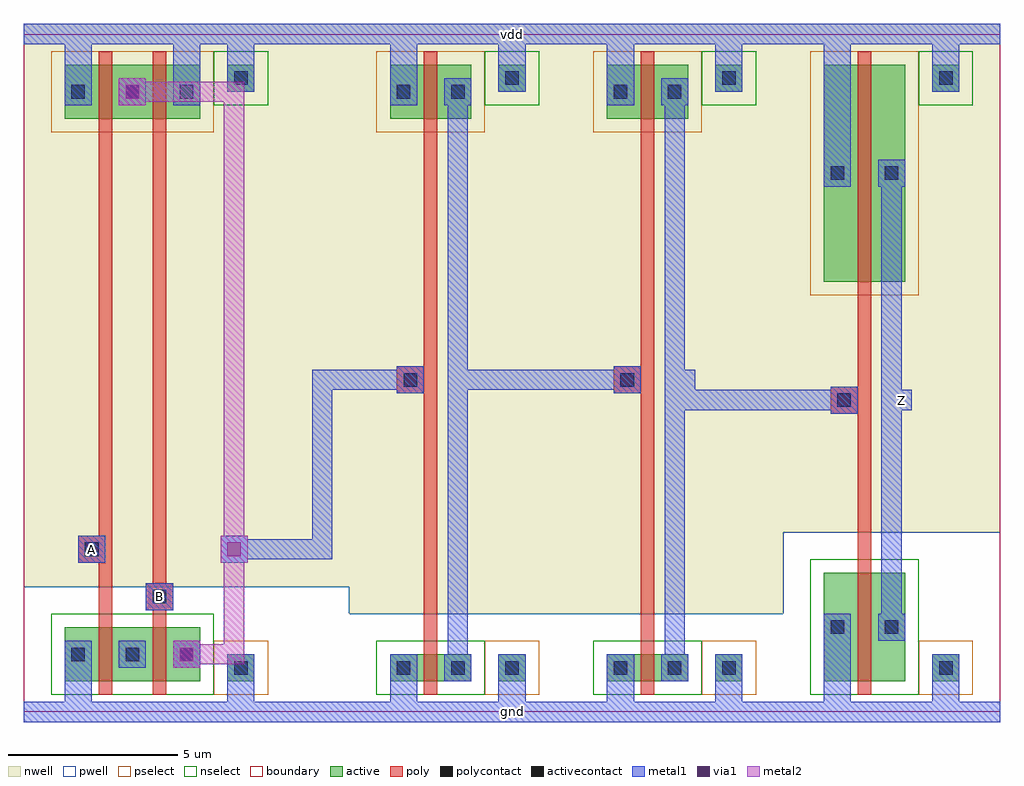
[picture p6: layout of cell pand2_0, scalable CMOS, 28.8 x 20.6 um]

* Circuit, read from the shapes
.subckt pand2_0 A B Z gnd vdd
M1 pnand2_1_0/nmos_m1_w1_600_a_p_2/D A gnd gnd nfet w=1.6u l=0.4u
M2 pdriver_1_1/A B pnand2_1_0/nmos_m1_w1_600_a_p_2/D gnd nfet w=1.6u l=0.4u
M3 pdriver_1_1/pinv_5_1/A pdriver_1_1/A gnd gnd nfet w=0.8u l=0.4u
M4 pdriver_1_1/pinv_4_2/A pdriver_1_1/pinv_5_1/A gnd gnd nfet w=0.8u l=0.4u
M5 Z pdriver_1_1/pinv_4_2/A gnd gnd nfet w=3.2u l=0.4u
M6 pdriver_1_1/A A vdd vdd pfet w=1.6u l=0.4u
M7 vdd B pdriver_1_1/A vdd pfet w=1.6u l=0.4u
M8 pdriver_1_1/pinv_5_1/A pdriver_1_1/A vdd vdd pfet w=1.6u l=0.4u
M9 pdriver_1_1/pinv_4_2/A pdriver_1_1/pinv_5_1/A vdd vdd pfet w=1.6u l=0.4u
M10 Z pdriver_1_1/pinv_4_2/A vdd vdd pfet w=6.4u l=0.4u
.ends

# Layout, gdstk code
import gdstk
lib = gdstk.Library(unit=1e-6, precision=1e-09)
def R(c, l, rs):  # rectangles x0, y0, x1, y1
    for r in rs: c.add(gdstk.rectangle(r[:2], r[2:], *l))
pwell = (41, 0)
nwell = (42, 0)
active = (43, 0)
pselect = (44, 0)
nselect = (45, 0)
poly = (46, 0)
polycontact = (47, 0)
activecontact = (48, 0)
metal1 = (49, 0)
via1 = (50, 0)
metal2 = (51, 0)
boundary = (63, 0)

contact_9 = lib.new_cell('contact_9')
R(contact_9, nwell, [(-1.2,-1.2,2,2)])
R(contact_9, active, [(0,0,0.8,0.8)])
R(contact_9, pselect, [(-0.4,-0.4,1.2,1.2)])
R(contact_9, activecontact, [(0.2,0.2,0.6,0.6)])
R(contact_9, metal1, [(0,0,0.8,0.8)])

pmos_m1_w1_600_a_p = lib.new_cell('pmos_m1_w1_600_a_p')
R(pmos_m1_w1_600_a_p, nwell, [(-1.2,-1.2,3.6,2.8)])
R(pmos_m1_w1_600_a_p, active, [(0,0,2.4,1.6)])
R(pmos_m1_w1_600_a_p, pselect, [(-0.4,-0.4,2.8,2)])
R(pmos_m1_w1_600_a_p, poly, [(1,-0.4,1.4,2), (1,-0.4,1.4,2)])
R(pmos_m1_w1_600_a_p, metal1, [(0,0.4,0.8,1.2), (1.6,0.4,2.4,1.2)])
pmos_m1_w1_600_a_p.add(gdstk.Reference(contact_9, (0,0.4)))
pmos_m1_w1_600_a_p.add(gdstk.Reference(contact_9, (1.6,0.4)))
pmos_m1_w1_600_a_p.add(gdstk.Label('G', (1.2,0.8), layer=46, texttype=0))
pmos_m1_w1_600_a_p.add(gdstk.Label('S', (0.4,0.8), layer=49, texttype=0))
pmos_m1_w1_600_a_p.add(gdstk.Label('D', (2,0.8), layer=49, texttype=0))

contact_14 = lib.new_cell('contact_14')
R(contact_14, pwell, [(-1.2,-1.2,2,2)])
R(contact_14, active, [(0,0,0.8,0.8)])
R(contact_14, nselect, [(-0.4,-0.4,1.2,1.2)])
R(contact_14, activecontact, [(0.2,0.2,0.6,0.6)])
R(contact_14, metal1, [(0,0,0.8,0.8)])

nmos_m1_w1_600_a_p = lib.new_cell('nmos_m1_w1_600_a_p')
R(nmos_m1_w1_600_a_p, pwell, [(-1.2,-1.2,3.6,2.8)])
R(nmos_m1_w1_600_a_p, active, [(0,0,2.4,1.6)])
R(nmos_m1_w1_600_a_p, nselect, [(-0.4,-0.4,2.8,2)])
R(nmos_m1_w1_600_a_p, poly, [(1,-0.4,1.4,2), (1,-0.4,1.4,2)])
R(nmos_m1_w1_600_a_p, metal1, [(0,0.4,0.8,1.2), (1.6,0.4,2.4,1.2)])
nmos_m1_w1_600_a_p.add(gdstk.Reference(contact_14, (0,0.4)))
nmos_m1_w1_600_a_p.add(gdstk.Reference(contact_14, (1.6,0.4)))
nmos_m1_w1_600_a_p.add(gdstk.Label('G', (1.2,0.8), layer=46, texttype=0))
nmos_m1_w1_600_a_p.add(gdstk.Label('S', (0.4,0.8), layer=49, texttype=0))
nmos_m1_w1_600_a_p.add(gdstk.Label('D', (2,0.8), layer=49, texttype=0))

contact_15 = lib.new_cell('contact_15')
R(contact_15, nwell, [(-1.2,-1.2,2,2)])
R(contact_15, active, [(0,0,0.8,0.8)])
R(contact_15, nselect, [(-0.4,-0.4,1.2,1.2)])
R(contact_15, activecontact, [(0.2,0.2,0.6,0.6)])
R(contact_15, metal1, [(0,0,0.8,0.8)])

contact_16 = lib.new_cell('contact_16')
R(contact_16, pwell, [(-1.2,-1.2,2,2)])
R(contact_16, active, [(0,0,0.8,0.8)])
R(contact_16, pselect, [(-0.4,-0.4,1.2,1.2)])
R(contact_16, activecontact, [(0.2,0.2,0.6,0.6)])
R(contact_16, metal1, [(0,0,0.8,0.8)])

contact_10 = lib.new_cell('contact_10')
R(contact_10, poly, [(0,0,0.8,0.8)])
R(contact_10, polycontact, [(0.2,0.2,0.6,0.6)])
R(contact_10, metal1, [(0,0,0.8,0.8)])

contact_17 = lib.new_cell('contact_17')
R(contact_17, metal1, [(0,0,0.8,0.8)])
R(contact_17, via1, [(0.2,0.2,0.6,0.6)])
R(contact_17, metal2, [(0,0,0.8,0.8)])

contact_18 = lib.new_cell('contact_18')
R(contact_18, metal1, [(0,0,0.8,0.8)])
R(contact_18, via1, [(0.2,0.2,0.6,0.6)])
R(contact_18, metal2, [(0,0,0.8,0.8)])

pnand2_1 = lib.new_cell('pnand2_1')
R(pnand2_1, pwell, [(0,-0.3,9.6,3.7)])
R(pnand2_1, nwell, [(0,3.7,9.6,20.3)])
R(pnand2_1, poly, [(2.2,0.5,2.6,17.1), (3.8,0.5,4.2,17.1), (3.8,3,4,3.8), (2,4.4,2.2,5.2)])
R(pnand2_1, metal1, [(0,-0.3,9.6,0.3), (1.2,-0.3,2,1.3), (6,0,6.8,1.3), (3.6,3,4.4,3.8), (1.6,4.4,2.4,5.2), (5.8,4.4,6.6,5.2), (1.2,17.9,2,20.3), (4.4,17.9,5.2,20.3), (6,18.7,6.8,20), (0,19.7,9.6,20.3)])
R(pnand2_1, metal2, [(4.8,1.4,6.2,2), (5.9,1.4,6.5,2), (5.9,1.7,6.5,4.8), (5.9,4.8,6.5,18.3), (3.2,18,6.2,18.6), (5.9,18,6.5,18.6)])
R(pnand2_1, boundary, [(0,0,9.6,20)])
pnand2_1.add(gdstk.Reference(pmos_m1_w1_600_a_p, (1.2,17.5)))
pnand2_1.add(gdstk.Reference(pmos_m1_w1_600_a_p, (2.8,17.5)))
pnand2_1.add(gdstk.Reference(nmos_m1_w1_600_a_p, (1.2,0.9)))
pnand2_1.add(gdstk.Reference(nmos_m1_w1_600_a_p, (2.8,0.9)))
pnand2_1.add(gdstk.Reference(contact_15, (6,18.3)))
pnand2_1.add(gdstk.Reference(contact_16, (6,0.9)))
pnand2_1.add(gdstk.Reference(contact_10, (3.6,3)))
pnand2_1.add(gdstk.Reference(contact_10, (1.6,4.4)))
pnand2_1.add(gdstk.Reference(contact_17, (2.8,17.9)))
pnand2_1.add(gdstk.Reference(contact_17, (4.4,1.3)))
pnand2_1.add(gdstk.Reference(contact_18, (5.8,4.4)))
pnand2_1.add(gdstk.Label('gnd', (4.8,0), layer=49, texttype=0))
pnand2_1.add(gdstk.Label('vdd', (4.8,20), layer=49, texttype=0))
pnand2_1.add(gdstk.Label('B', (4,3.4), layer=49, texttype=0))
pnand2_1.add(gdstk.Label('A', (2,4.8), layer=49, texttype=0))
pnand2_1.add(gdstk.Label('Z', (6.2,4.8), layer=49, texttype=0))

nmos_m1_w0_800_a_p = lib.new_cell('nmos_m1_w0_800_a_p')
R(nmos_m1_w0_800_a_p, pwell, [(-1.2,-1.2,3.6,2)])
R(nmos_m1_w0_800_a_p, active, [(0,0,2.4,0.8)])
R(nmos_m1_w0_800_a_p, nselect, [(-0.4,-0.4,2.8,1.2)])
R(nmos_m1_w0_800_a_p, poly, [(1,-0.4,1.4,1.2), (1,-0.4,1.4,1.2)])
R(nmos_m1_w0_800_a_p, metal1, [(0,0,0.8,0.8), (1.6,0,2.4,0.8)])
nmos_m1_w0_800_a_p.add(gdstk.Reference(contact_14, (0,0)))
nmos_m1_w0_800_a_p.add(gdstk.Reference(contact_14, (1.6,0)))
nmos_m1_w0_800_a_p.add(gdstk.Label('G', (1.2,0.4), layer=46, texttype=0))
nmos_m1_w0_800_a_p.add(gdstk.Label('S', (0.4,0.4), layer=49, texttype=0))
nmos_m1_w0_800_a_p.add(gdstk.Label('D', (2,0.4), layer=49, texttype=0))

pinv_5 = lib.new_cell('pinv_5')
R(pinv_5, pwell, [(0,-0.3,6.4,2.9)])
R(pinv_5, nwell, [(0,2.9,6.4,20.3)])
R(pinv_5, poly, [(2.2,0.5,2.6,17.1), (1.8,9.4,2.2,10.2)])
R(pinv_5, metal1, [(0,-0.3,6.4,0.3), (1.2,-0.3,2,0.9), (4.4,0,5.2,1.3), (2.9,0.9,3.5,18.7), (1.4,9.4,2.2,10.2), (3.2,9.5,3.8,10.1), (1.2,17.9,2,20.3), (4.4,18.7,5.2,20), (0,19.7,6.4,20.3)])
R(pinv_5, boundary, [(0,0,6.4,20)])
pinv_5.add(gdstk.Reference(pmos_m1_w1_600_a_p, (1.2,17.5)))
pinv_5.add(gdstk.Reference(nmos_m1_w0_800_a_p, (1.2,0.9)))
pinv_5.add(gdstk.Reference(contact_15, (4.4,18.3)))
pinv_5.add(gdstk.Reference(contact_16, (4.4,0.9)))
pinv_5.add(gdstk.Reference(contact_10, (1.4,9.4)))
pinv_5.add(gdstk.Label('gnd', (3.2,0), layer=49, texttype=0))
pinv_5.add(gdstk.Label('vdd', (3.2,20), layer=49, texttype=0))
pinv_5.add(gdstk.Label('A', (1.8,9.8), layer=49, texttype=0))
pinv_5.add(gdstk.Label('Z', (3.5,9.8), layer=49, texttype=0))

pmos_m1_w6_400_a_p = lib.new_cell('pmos_m1_w6_400_a_p')
R(pmos_m1_w6_400_a_p, nwell, [(-1.2,-1.2,3.6,7.6)])
R(pmos_m1_w6_400_a_p, active, [(0,0,2.4,6.4)])
R(pmos_m1_w6_400_a_p, pselect, [(-0.4,-0.4,2.8,6.8)])
R(pmos_m1_w6_400_a_p, poly, [(1,-0.4,1.4,6.8), (1,-0.4,1.4,6.8)])
R(pmos_m1_w6_400_a_p, metal1, [(0,2.8,0.8,3.6), (1.6,2.8,2.4,3.6)])
pmos_m1_w6_400_a_p.add(gdstk.Reference(contact_9, (0,2.8)))
pmos_m1_w6_400_a_p.add(gdstk.Reference(contact_9, (1.6,2.8)))
pmos_m1_w6_400_a_p.add(gdstk.Label('G', (1.2,3.2), layer=46, texttype=0))
pmos_m1_w6_400_a_p.add(gdstk.Label('S', (0.4,3.2), layer=49, texttype=0))
pmos_m1_w6_400_a_p.add(gdstk.Label('D', (2,3.2), layer=49, texttype=0))

nmos_m1_w3_200_a_p = lib.new_cell('nmos_m1_w3_200_a_p')
R(nmos_m1_w3_200_a_p, pwell, [(-1.2,-1.2,3.6,4.4)])
R(nmos_m1_w3_200_a_p, active, [(0,0,2.4,3.2)])
R(nmos_m1_w3_200_a_p, nselect, [(-0.4,-0.4,2.8,3.6)])
R(nmos_m1_w3_200_a_p, poly, [(1,-0.4,1.4,3.6), (1,-0.4,1.4,3.6)])
R(nmos_m1_w3_200_a_p, metal1, [(0,1.2,0.8,2), (1.6,1.2,2.4,2)])
nmos_m1_w3_200_a_p.add(gdstk.Reference(contact_14, (0,1.2)))
nmos_m1_w3_200_a_p.add(gdstk.Reference(contact_14, (1.6,1.2)))
nmos_m1_w3_200_a_p.add(gdstk.Label('G', (1.2,1.6), layer=46, texttype=0))
nmos_m1_w3_200_a_p.add(gdstk.Label('S', (0.4,1.6), layer=49, texttype=0))
nmos_m1_w3_200_a_p.add(gdstk.Label('D', (2,1.6), layer=49, texttype=0))

pinv_4 = lib.new_cell('pinv_4')
R(pinv_4, pwell, [(0,-0.3,6.4,5.3)])
R(pinv_4, nwell, [(0,5.3,6.4,20.3)])
R(pinv_4, poly, [(2.2,0.5,2.6,12.3), (1.8,8.8,2.2,9.6)])
R(pinv_4, metal1, [(0,-0.3,6.4,0.3), (1.2,-0.3,2,2.1), (4.4,0,5.2,1.3), (2.9,2.1,3.5,16.3), (1.4,8.8,2.2,9.6), (3.2,8.9,3.8,9.5), (1.2,15.5,2,20.3), (4.4,18.7,5.2,20), (0,19.7,6.4,20.3)])
R(pinv_4, boundary, [(0,0,6.4,20)])
pinv_4.add(gdstk.Reference(pmos_m1_w6_400_a_p, (1.2,12.7)))
pinv_4.add(gdstk.Reference(nmos_m1_w3_200_a_p, (1.2,0.9)))
pinv_4.add(gdstk.Reference(contact_15, (4.4,18.3)))
pinv_4.add(gdstk.Reference(contact_16, (4.4,0.9)))
pinv_4.add(gdstk.Reference(contact_10, (1.4,8.8)))
pinv_4.add(gdstk.Label('gnd', (3.2,0), layer=49, texttype=0))
pinv_4.add(gdstk.Label('vdd', (3.2,20), layer=49, texttype=0))
pinv_4.add(gdstk.Label('A', (1.8,9.2), layer=49, texttype=0))
pinv_4.add(gdstk.Label('Z', (3.5,9.2), layer=49, texttype=0))

pdriver_1 = lib.new_cell('pdriver_1')
R(pdriver_1, metal1, [(0,-0.3,0.6,0.3), (9.6,8.9,10.2,9.5), (9.9,8.9,14.6,9.5), (16,8.9,16.6,9.5), (9.6,9.2,10.2,9.8), (1.4,9.4,2.2,10.2), (3.5,9.5,8.2,10.1), (0,19.7,0.6,20.3)])
R(pdriver_1, boundary, [(0,0,19.2,20)])
pdriver_1.add(gdstk.Reference(pinv_5, (0,0)))
pdriver_1.add(gdstk.Reference(pinv_5, (6.4,0)))
pdriver_1.add(gdstk.Reference(pinv_4, (12.8,0)))
pdriver_1.add(gdstk.Label('vdd', (0.3,20), layer=49, texttype=0))
pdriver_1.add(gdstk.Label('gnd', (0.3,0), layer=49, texttype=0))
pdriver_1.add(gdstk.Label('Z', (16.3,9.2), layer=49, texttype=0))
pdriver_1.add(gdstk.Label('A', (1.8,9.8), layer=49, texttype=0))

pand2_0 = lib.new_cell('pand2_0')
R(pand2_0, metal1, [(0,-0.3,28.8,0.3), (3.6,3,4.4,3.8), (1.6,4.4,2.4,5.2), (6.2,4.5,8.8,5.1), (8.5,4.5,9.1,5.1), (8.5,4.8,9.1,9.8), (25.6,8.9,26.2,9.5), (8.5,9.5,9.1,10.1), (8.8,9.5,11.4,10.1), (0,19.7,28.8,20.3)])
R(pand2_0, boundary, [(0,0,28.8,20)])
pand2_0.add(gdstk.Reference(pnand2_1, (0,0)))
pand2_0.add(gdstk.Reference(pdriver_1, (9.6,0)))
pand2_0.add(gdstk.Label('vdd', (14.4,20), layer=49, texttype=0))
pand2_0.add(gdstk.Label('gnd', (14.4,0), layer=49, texttype=0))
pand2_0.add(gdstk.Label('Z', (25.9,9.2), layer=49, texttype=0))
pand2_0.add(gdstk.Label('A', (2,4.8), layer=49, texttype=0))
pand2_0.add(gdstk.Label('B', (4,3.4), layer=49, texttype=0))

lib.write_gds('pand2_0.gds')
